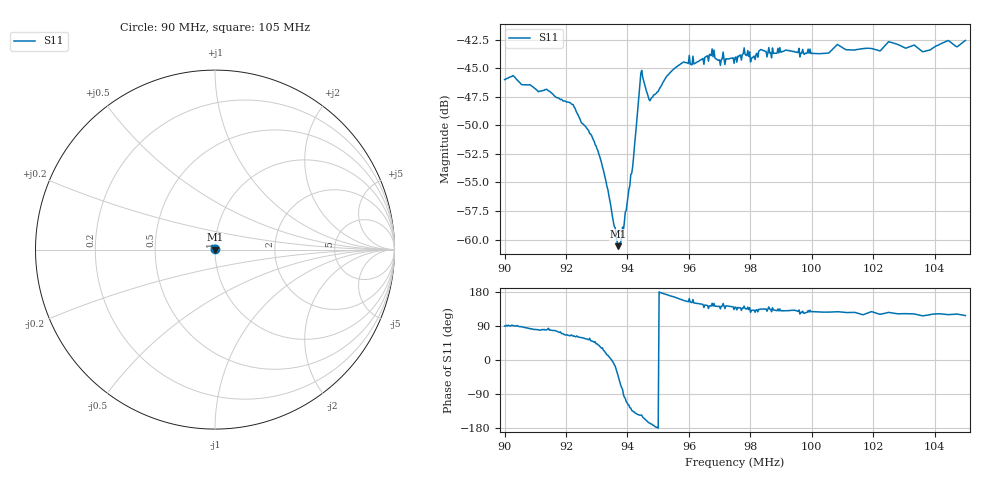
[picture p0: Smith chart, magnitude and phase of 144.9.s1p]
# HZ S RI R 50
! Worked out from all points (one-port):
!   505 points, 90 MHz to 105 MHz, reference 50 ohm
!   lowest |S11| = -60.6 dB at 93.69 MHz (marker M1), VSWR 1.00, Z = 50.1 - j0.0609 ohm
!   |S11| at or under -10 dB: start of sweep to end of sweep
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9e7  3.57e-05 0.00501
9.029762e7  -4.9e-05 0.00519
9.187501e7  0.00144 0.00382
9.223215e7  0.00178 0.00347
9.29762e7  0.00188 0.00176
9.330358e7  0.00171 0.000526
9.369049e7  0.000712 -0.000608
9.375001e7  0.000519 -0.000816
9.392858e7  -0.000257 -0.00129
9.413692e7  -0.00133 -0.00142
9.440478e7  -0.00397 -0.00269
9.44643e7  -0.00453 -0.00312
9.476192e7  -0.00405 -0.00081
9.562502e7  -0.00551 0.00161
9.675597e7  -0.0059 0.00344
9.696431e7  -0.00479 0.00379
9.750002e7  -0.00476 0.00407
9.785717e7  -0.00453 0.00454
9.80655e7  -0.00411 0.00469
9.833336e7  -0.00473 0.00486
9.937503e7  -0.00434 0.00503
1.008631e8  -0.00431 0.00564
1.0125e8  -0.00392 0.0055
1.022024e8  -0.00345 0.00574
1.025298e8  -0.00423 0.00598
1.03125e8  -0.00369 0.00587
1.036608e8  -0.00303 0.00593
1.05e8  -0.0034 0.00661
